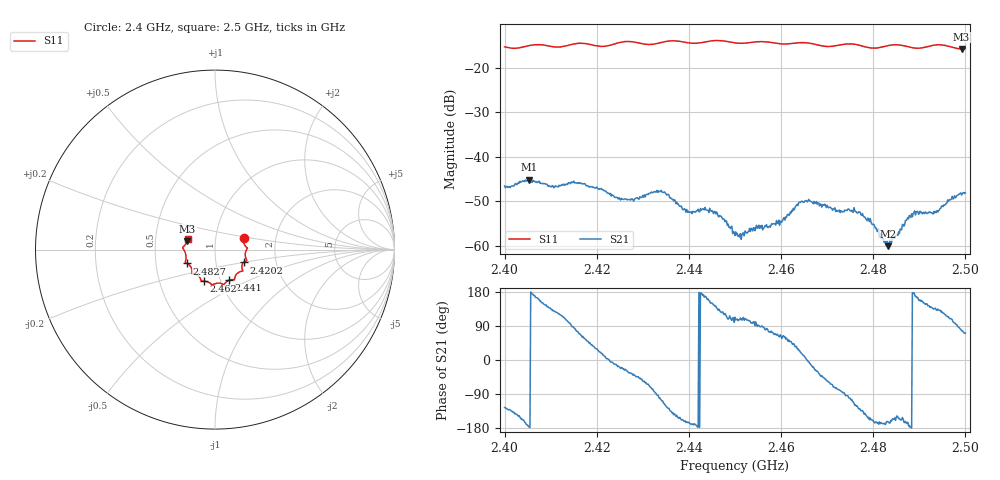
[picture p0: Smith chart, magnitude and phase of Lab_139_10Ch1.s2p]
# Hz S RI R 50
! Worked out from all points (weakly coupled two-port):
!   601 points, 2.4 GHz to 2.5 GHz, reference 50 ohm
!   highest |S21| = -45.15 dB at 2.4053 GHz (marker M1); lowest = -60.0 dB at 2.4832 GHz (marker M2)
!   lowest |S11| = -15.8 dB at 2.4992 GHz (marker M3), VSWR 1.39, Z = 36.5 + j3.62 ohm
!   |S11| at or under -10 dB: start of sweep to end of sweep
!   S12 and S22 are empty: the file has one direction only
!   S11 on the Smith chart (normalised r, x): 2.4 GHz: 1.36, +0.18; 2.4202 GHz: 1.36, -0.20; 2.441 GHz: 1.10, -0.39; 2.462 GHz: 0.84, -0.30; 2.4827 GHz: 0.72, -0.12; 2.5 GHz: 0.73, +0.09
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2.4e9  0.1589 0.0628  -0.00274 -0.00384  0 0  0 0
2.405333e9  0.1763 0.0127  -0.00552 -0.000295  0 0  0 0
2.410333e9  0.1717 -0.0095  -0.00327 0.00347  0 0  0 0
2.416667e9  0.1774 -0.0607  0.00213 0.00453  0 0  0 0
2.420167e9  0.159 -0.0716  0.00394 0.00204  0 0  0 0
2.426833e9  0.156 -0.1192  0.00281 -0.00178  0 0  0 0
2.433333e9  0.1117 -0.1506  -0.000241 -0.00417  0 0  0 0
2.441e9  0.0788 -0.17  -0.0024 -0.000365  0 0  0 0
2.4455e9  0.0507 -0.1943  -0.00199 0.00141  0 0  0 0
2.45e9  0.0285 -0.1873  -0.000513 0.00121  0 0  0 0
2.4575e9  -0.0222 -0.1911  0.000442 0.00162  0 0  0 0
2.462e9  -0.0601 -0.1755  0.00159 0.00181  0 0  0 0
2.464333e9  -0.0748 -0.1752  0.00297 0.00101  0 0  0 0
2.466667e9  -0.079 -0.1683  0.003 -0.000849  0 0  0 0
2.477333e9  -0.1269 -0.1219  -0.00157 -0.00161  0 0  0 0
2.482667e9  -0.1559 -0.0772  -0.00111 -0.000189  0 0  0 0
2.483167e9  -0.1592 -0.0756  -0.000956 -0.000288  0 0  0 0
2.483333e9  -0.1602 -0.0751  -0.00104 -0.000309  0 0  0 0
2.4885e9  -0.1613 -0.044  -0.00213 9.61e-05  0 0  0 0
2.493833e9  -0.1799 0.00884  -0.00164 0.00189  0 0  0 0
2.499167e9  -0.1546 0.0483  0.000813 0.00365  0 0  0 0
2.5e9  -0.152 0.06  0.0013 0.00373  0 0  0 0
